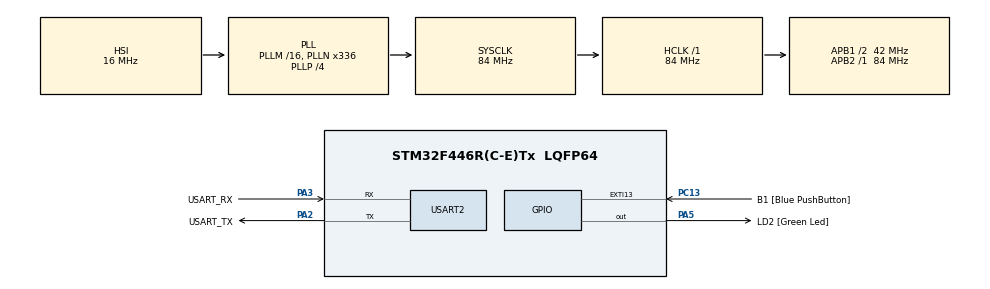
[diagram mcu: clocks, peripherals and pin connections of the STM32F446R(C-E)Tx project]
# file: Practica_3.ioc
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Mcu.Family=STM32F4
Mcu.Name=STM32F446R(C-E)Tx
Mcu.Package=LQFP64
NVIC.PriorityGroup=NVIC_PRIORITYGROUP_0
PA13.GPIO_Label=TMS
PA13.Mode=Serial_Wire
PA13.Signal=SYS_JTMS-SWDIO
PA14.GPIO_Label=TCK
PA14.Mode=Serial_Wire
PA14.Signal=SYS_JTCK-SWCLK
PA2.GPIO_Label=USART_TX
PA2.Mode=Asynchronous
PA2.Signal=USART2_TX
PA3.GPIO_Label=USART_RX
PA3.Mode=Asynchronous
PA3.Signal=USART2_RX
PA5.GPIO_Label=LD2 [Green Led]
PA5.Signal=GPIO_Output
PB3.GPIO_Label=SWO
PB3.Signal=SYS_JTDO-SWO
PC13.GPIO_Label=B1 [Blue PushButton]
PC13.GPIO_ModeDefaultEXTI=GPIO_MODE_IT_FALLING
PC13.Signal=GPXTI13
PC14-OSC32_IN.Mode=LSE-External-Oscillator
PC14-OSC32_IN.Signal=RCC_OSC32_IN
PC15-OSC32_OUT.Mode=LSE-External-Oscillator
PC15-OSC32_OUT.Signal=RCC_OSC32_OUT
PH0-OSC_IN.Mode=HSE-External-Oscillator
PH0-OSC_IN.Signal=RCC_OSC_IN
PH1-OSC_OUT.Mode=HSE-External-Oscillator
PH1-OSC_OUT.Signal=RCC_OSC_OUT
ProjectManager.HeapSize=0x200
ProjectManager.StackSize=0x400
ProjectManager.TargetToolchain=STM32CubeIDE
RCC.48MHZClocksFreq_Value=84000000
RCC.AHBFreq_Value=84000000
RCC.APB1CLKDivider=RCC_HCLK_DIV2
RCC.APB1Freq_Value=42000000
RCC.APB1TimFreq_Value=84000000
RCC.APB2Freq_Value=84000000
RCC.APB2TimFreq_Value=84000000
RCC.CortexFreq_Value=84000000
RCC.FLatency-AdvancedSettings=FLASH_LATENCY_2
RCC.HCLKFreq_Value=84000000
RCC.HSE_VALUE=8000000
RCC.HSI_VALUE=16000000
RCC.PLLN=336
RCC.PLLP=RCC_PLLP_DIV4
RCC.SYSCLKFreq_VALUE=84000000
RCC.SYSCLKSource=RCC_SYSCLKSOURCE_PLLCLK
RCC.USBFreq_Value=168000000
RCC.VCOOutputFreq_Value=336000000
USART2.VirtualMode=VM_ASYNC
board=NUCLEO-F446RE

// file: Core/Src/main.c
/* USER CODE BEGIN Header */
/**
  ******************************************************************************
  * @file           : main.c
  * @brief          : Main program body
  ******************************************************************************
  * @attention
  *
  * Copyright (c) 2026 STMicroelectronics.
  * All rights reserved.
  *
  * This software is licensed under terms that can be found in the LICENSE file
  * in the root directory of this software component.
  * If no LICENSE file comes with this software, it is provided AS-IS.
  *
  ******************************************************************************
  */
/* USER CODE END Header */
#include "main.h"

/* USER CODE BEGIN Includes */
#include "API_delay.h"
/* USER CODE END Includes */

UART_HandleTypeDef huart2;

void SystemClock_Config(void);
static void MX_GPIO_Init(void);
static void MX_USART2_UART_Init(void);

/* USER CODE BEGIN 0 */
void sequence(uint32_t times,uint32_t period,uint16_t duty, delay_t *delay){
	uint8_t i=0;
	while(i<times*2){
		if(delayRead(delay)){ //calculo la cantidad de transiciones del led
			HAL_GPIO_TogglePin(LD2_GPIO_Port, LD2_Pin); //toggleo el led
			i++;
		}
	}

}

/* USER CODE END 0 */

int main(void)
{

  /* MCU Configuration--------------------------------------------------------*/

  /* Reset of all peripherals, Initializes the Flash interface and the Systick. */
  HAL_Init();

  /* Configure the system clock */
  SystemClock_Config();

  /* Initialize all configured peripherals */
  MX_GPIO_Init();
  MX_USART2_UART_Init();
  /* USER CODE BEGIN 2 */

  const uint32_t TIEMPOS[4] = {500, 100, 100, 1000}; //defino los tiempos en un array
  const uint32_t cantidadParpadeos = 5;
  const uint8_t duty = 50;
  uint8_t j=0;
  delay_t delay;
  delayInit(&delay,TIEMPOS[0]);

  /* USER CODE END 2 */

  /* Infinite loop */
  /* USER CODE BEGIN WHILE */
  while (1)
  {
	  if( j < sizeof(TIEMPOS)/sizeof(TIEMPOS[0])){
		  if(!delayIsRunning(&delay)){ //verificacion del delay (punto3)
			  delayWrite(&delay, TIEMPOS[j]); //escribo el nuevo delay
			  sequence(cantidadParpadeos,TIEMPOS[j],duty,&delay); //ejecuta la funcion que me da la secuencia de los parpadeos.
			  	  	  j++; //aumento para pasar a la siguiente secuencia
		  }
	  }
	  else{
			  j=0;
		  }

    /* USER CODE END WHILE */

  }
}

void SystemClock_Config(void)
{
  RCC_OscInitTypeDef RCC_OscInitStruct = {0};
  RCC_ClkInitTypeDef RCC_ClkInitStruct = {0};

  /** Configure the main internal regulator output voltage
  */
  __HAL_RCC_PWR_CLK_ENABLE();
  __HAL_PWR_VOLTAGESCALING_CONFIG(PWR_REGULATOR_VOLTAGE_SCALE3);

  /** Initializes the RCC Oscillators according to the specified parameters
  * in the RCC_OscInitTypeDef structure.
  */
  RCC_OscInitStruct.OscillatorType = RCC_OSCILLATORTYPE_HSI;
  RCC_OscInitStruct.HSIState = RCC_HSI_ON;
  RCC_OscInitStruct.HSICalibrationValue = RCC_HSICALIBRATION_DEFAULT;
  RCC_OscInitStruct.PLL.PLLState = RCC_PLL_ON;
  RCC_OscInitStruct.PLL.PLLSource = RCC_PLLSOURCE_HSI;
  RCC_OscInitStruct.PLL.PLLM = 16;
  RCC_OscInitStruct.PLL.PLLN = 336;
  RCC_OscInitStruct.PLL.PLLP = RCC_PLLP_DIV4;
  RCC_OscInitStruct.PLL.PLLQ = 2;
  RCC_OscInitStruct.PLL.PLLR = 2;
  if (HAL_RCC_OscConfig(&RCC_OscInitStruct) != HAL_OK)
  {
    Error_Handler();
  }

  /** Initializes the CPU, AHB and APB buses clocks
  */
  RCC_ClkInitStruct.ClockType = RCC_CLOCKTYPE_HCLK|RCC_CLOCKTYPE_SYSCLK
                              |RCC_CLOCKTYPE_PCLK1|RCC_CLOCKTYPE_PCLK2;
  RCC_ClkInitStruct.SYSCLKSource = RCC_SYSCLKSOURCE_PLLCLK;
  RCC_ClkInitStruct.AHBCLKDivider = RCC_SYSCLK_DIV1;
  RCC_ClkInitStruct.APB1CLKDivider = RCC_HCLK_DIV2;
  RCC_ClkInitStruct.APB2CLKDivider = RCC_HCLK_DIV1;

  if (HAL_RCC_ClockConfig(&RCC_ClkInitStruct, FLASH_LATENCY_2) != HAL_OK)
  {
    Error_Handler();
  }
}

static void MX_USART2_UART_Init(void)
{

  huart2.Instance = USART2;
  huart2.Init.BaudRate = 115200;
  huart2.Init.WordLength = UART_WORDLENGTH_8B;
  huart2.Init.StopBits = UART_STOPBITS_1;
  huart2.Init.Parity = UART_PARITY_NONE;
  huart2.Init.Mode = UART_MODE_TX_RX;
  huart2.Init.HwFlowCtl = UART_HWCONTROL_NONE;
  huart2.Init.OverSampling = UART_OVERSAMPLING_16;
  if (HAL_UART_Init(&huart2) != HAL_OK)
  {
    Error_Handler();
  }

}

static void MX_GPIO_Init(void)
{
  GPIO_InitTypeDef GPIO_InitStruct = {0};

  /* GPIO Ports Clock Enable */
  __HAL_RCC_GPIOC_CLK_ENABLE();
  __HAL_RCC_GPIOH_CLK_ENABLE();
  __HAL_RCC_GPIOA_CLK_ENABLE();
  __HAL_RCC_GPIOB_CLK_ENABLE();

  /*Configure GPIO pin Output Level */
  HAL_GPIO_WritePin(LD2_GPIO_Port, LD2_Pin, GPIO_PIN_RESET);

  /*Configure GPIO pin : B1_Pin */
  GPIO_InitStruct.Pin = B1_Pin;
  GPIO_InitStruct.Mode = GPIO_MODE_IT_FALLING;
  GPIO_InitStruct.Pull = GPIO_NOPULL;
  HAL_GPIO_Init(B1_GPIO_Port, &GPIO_InitStruct);

  /*Configure GPIO pin : LD2_Pin */
  GPIO_InitStruct.Pin = LD2_Pin;
  GPIO_InitStruct.Mode = GPIO_MODE_OUTPUT_PP;
  GPIO_InitStruct.Pull = GPIO_NOPULL;
  GPIO_InitStruct.Speed = GPIO_SPEED_FREQ_LOW;
  HAL_GPIO_Init(LD2_GPIO_Port, &GPIO_InitStruct);

}

void Error_Handler(void)
{
  __disable_irq();
  while (1)
  {
  }
}
